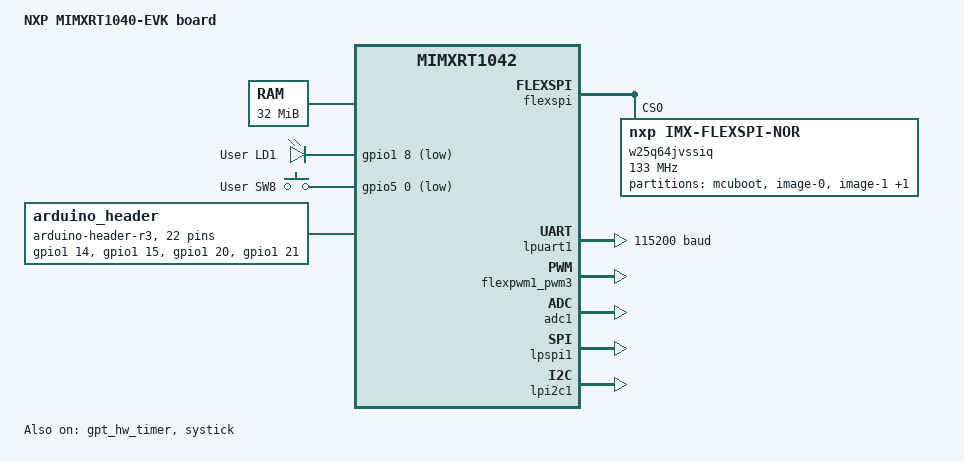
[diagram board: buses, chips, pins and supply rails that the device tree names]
/*
 * Copyright 2023 NXP
 *
 * SPDX-License-Identifier: Apache-2.0
 */

/dts-v1/;

#include <nxp/nxp_rt1040.dtsi>
#include "mimxrt1040_evk-pinctrl.dtsi"
#include <zephyr/dt-bindings/input/input-event-codes.h>

/ {
	model = "NXP MIMXRT1040-EVK board";
	compatible = "nxp,mimxrt1042";

	aliases {
		led0 = &green_led;
		sw0 = &user_button;
		pwm-0 = &flexpwm1_pwm3;
	};

	chosen {
		zephyr,sram = &sdram0;
		zephyr,itcm = &itcm;
		zephyr,dtcm = &dtcm;
		zephyr,console = &lpuart1;
		zephyr,shell-uart = &lpuart1;
		zephyr,flash = &w25q64jvssiq;
		zephyr,flash-controller = &w25q64jvssiq;
		zephyr,code-partition = &slot0_partition;
	};

	sdram0: memory@80000000 {
		/* Winbond W9825G6KH SDRAM */
		device_type = "memory";
		reg = <0x80000000 DT_SIZE_M(32)>;
	};

	leds {
		compatible = "gpio-leds";
		green_led: led_0 {
			gpios = <&gpio1 8 GPIO_ACTIVE_LOW>;
			label = "User LD1";
		};
	};

	gpio_keys {
		compatible = "gpio-keys";
		user_button: button_0 {
			label = "User SW8";
			gpios = <&gpio5 0 (GPIO_PULL_UP | GPIO_ACTIVE_LOW)>;
			zephyr,code = <INPUT_KEY_0>;
		};
	};

	arduino_header: connector {
		compatible = "arduino-header-r3";
		#gpio-cells = <2>;
		gpio-map-mask = <0xffffffff 0xffffffc0>;
		gpio-map-pass-thru = <0 0x3f>;
		gpio-map = <0 0 &gpio1 14 0>,	/* A0 */
			   <1 0 &gpio1 15 0>,	/* A1 */
			   <2 0 &gpio1 20 0>,	/* A2 */
			   <3 0 &gpio1 21 0>,	/* A3 */
			   <4 0 &gpio1 22 0>,	/* A4 */
			   <5 0 &gpio1 23 0>,	/* A5 */
			   <6 0 &gpio3 1 0>,	/* D0 */
			   <7 0 &gpio3 0 0>,	/* D1 */
			   <8 0 &gpio1 11 0>,	/* D2 */
			   <9 0 &gpio3 2 0>,	/* D3 */
			   <10 0 &gpio1 9 0>,	/* D4 */
			   <11 0 &gpio1 10 0>,	/* D5 */
			   <12 0 &gpio1 18 0>,	/* D6 */
			   <13 0 &gpio1 19 0>,	/* D7 */
			   <14 0 &gpio2 30 0>,	/* D8 */
			   <15 0 &gpio2 31 0>,	/* D9 */
			   <16 0 &gpio3 13 0>,	/* D10 */
			   <17 0 &gpio3 14 0>,	/* D11 */
			   <18 0 &gpio3 15 0>,	/* D12 */
			   <19 0 &gpio3 12 0>,	/* D13 */
			   <20 0 &gpio1 17 0>,	/* D14 */
			   <21 0 &gpio1 16 0>;	/* D15 */
	};
};

&flexspi {
	status = "okay";
	reg = <0x402a8000 0x4000>, <0x60000000 DT_SIZE_M(8)>;
	/* Winbond external flash */
	w25q64jvssiq: w25q64jvssiq@0 {
		compatible = "nxp,imx-flexspi-nor";
		size = <(DT_SIZE_M(8) * 8)>;
		reg = <0>;
		spi-max-frequency = <133000000>;
		status = "okay";
		jedec-id = [ef 40 17];
		erase-block-size = <4096>;
		write-block-size = <1>;
		partitions {
			compatible = "fixed-partitions";
			#address-cells = <1>;
			#size-cells = <1>;
			boot_partition: partition@0 {
				label = "mcuboot";
				reg = <0x00000000 DT_SIZE_K(64)>;
			};
			slot0_partition: partition@10000 {
				label = "image-0";
				reg = <0x00010000 DT_SIZE_M(3)>;
			};
			slot1_partition: partition@310000 {
				label = "image-1";
				reg = <0x00310000 DT_SIZE_M(3)>;
			};
			storage_partition: partition@610000 {
				label = "storage";
				reg = <0x00610000 DT_SIZE_K(1984)>;
			};
		};
	};
};

&lpuart1 {
	status = "okay";
	current-speed = <115200>;
	pinctrl-0 = <&pinmux_lpuart1>;
	pinctrl-1 = <&pinmux_lpuart1_sleep>;
	pinctrl-names = "default", "sleep";
};

&flexpwm1_pwm3 {
	status = "okay";
	pinctrl-0 = <&pinmux_flexpwm1_pwm3>;
	pinctrl-names = "default";
};

&adc1 {
	status = "okay";
	pinctrl-0 = <&pinmux_adc1>;
	pinctrl-names = "default";
};

&lpspi1 {
	status = "okay";
	/* DMA channels 0 and 1, muxed to LPSPI1 RX and TX */
	dmas = <&edma0 0 13>, <&edma0 1 14>;
	dma-names = "rx", "tx";
	pinctrl-0 = <&pinmux_lpspi1>;
	pinctrl-names = "default";
};

&edma0 {
	status = "okay";
};

&lpi2c1 {
	status = "okay";
	pinctrl-0 = <&pinmux_lpi2c1>;
	pinctrl-names = "default";
};

/* Leave LPI2C3 disabled by default, since it conflicts with LPSPI1 pins */
&lpi2c3 {
	pinctrl-0 = <&pinmux_lpi2c3>;
	pinctrl-names = "default";
};

/* GPT and Systick are enabled. If power management is enabled, the GPT
 * timer will be used instead of systick, as allows the core clock to
 * be gated.
 */
&gpt_hw_timer {
	status = "okay";
};

&systick {
	status = "okay";
};
